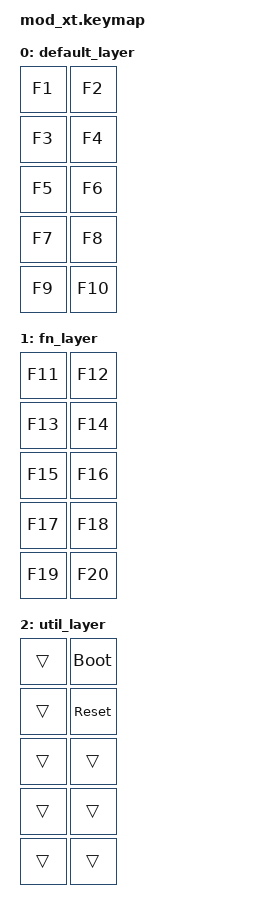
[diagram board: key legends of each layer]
/*
 * copyright (c) 2025 ZMK project contributors
 *
 * SPDX-license-identifier: MIT
 */

#include <behaviors.dtsi>
#include <dt-bindings/zmk/keys.h>

/ {
    keymap {
        compatible = "zmk,keymap";

        default_layer {
            bindings = <
                &kp F1  &kp F2
                &kp F3  &kp F4
                &kp F5  &kp F6
                &kp F7  &kp F8
                &kp F9  &kp F10
            >;
        };

        fn_layer {
            bindings = <
                &kp F11 &kp F12
                &kp F13 &kp F14
                &kp F15 &kp F16
                &kp F17 &kp F18
                &kp F19 &kp F20
            >;
        };

        util_layer {
            bindings = <
                &trans  &bootloader
                &trans  &sys_reset
                &trans  &trans
                &trans  &trans
                &trans  &trans
            >;
        };
    };
};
